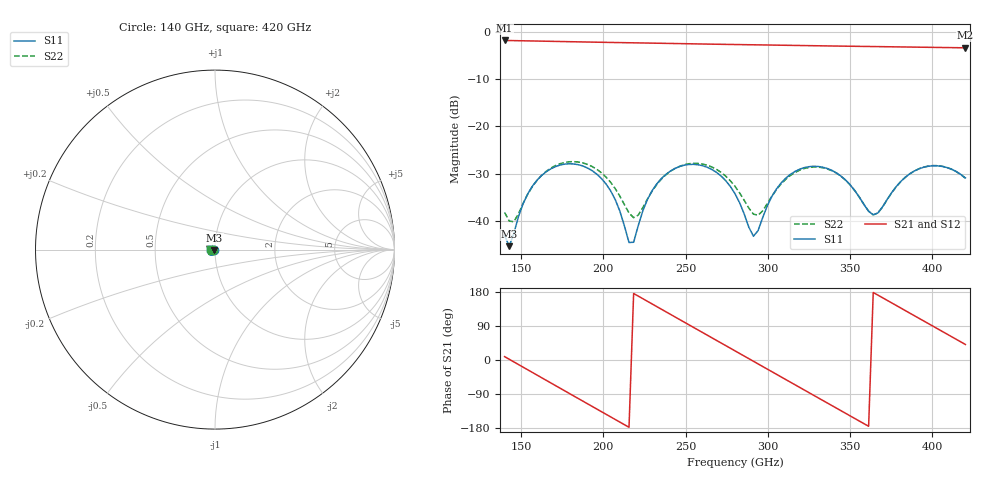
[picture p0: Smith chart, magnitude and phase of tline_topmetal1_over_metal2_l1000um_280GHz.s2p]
#  GHZ S DB R 50
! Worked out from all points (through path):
!   101 points, 140 GHz to 420 GHz, reference 50 ohm
!   highest |S21| = -1.77 dB at 140 GHz (marker M1); lowest = -3.3 dB at 420 GHz (marker M2)
!   group delay of S21, straight-line fit = 6.82 ps
!   lowest |S11| = -45.4 dB at 142.8 GHz (marker M3), VSWR 1.01, Z = 49.6 - j0.372 ohm
!   |S11| at or under -10 dB: start of sweep to end of sweep
!   |S22| runs from -40.2 to -27.4 dB; largest |S21 - S12| = 8.6e-14
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140  -43.08 -171.5  -1.77 8.9  -1.77 8.9  -38.22 -169.1
142.8  -45.37 -135.9  -1.79 2.0  -1.79 2.0  -40.05 -153.1
151.2  -36.38 -90.2  -1.85 -18.8  -1.85 -18.8  -36.34 -105.6
159.6  -31.42 -101.5  -1.90 -39.6  -1.90 -39.6  -31.46 -107.3
173.6  -28.19 -131.3  -1.99 -74.1  -1.99 -74.1  -27.90 -131.6
187.6  -28.39 -162.7  -2.09 -108.7  -2.09 -108.7  -27.73 -159.6
204.4  -33.63 164.7  -2.19 -150.0  -2.19 -150.0  -31.82 173.3
215.6  -44.60 -169.7  -2.26 -177.6  -2.26 -177.6  -38.33 -173.8
218.4  -44.53 -129.6  -2.28 175.5  -2.28 175.5  -39.32 -157.0
221.2  -41.02 -107.7  -2.29 168.6  -2.29 168.6  -38.79 -138.9
235.2  -31.05 -113.9  -2.37 134.2  -2.37 134.2  -31.19 -123.0
246.4  -28.48 -136.3  -2.44 106.6  -2.44 106.6  -28.43 -140.2
257.6  -28.12 -160.0  -2.51 79.1  -2.51 79.1  -27.83 -160.8
280  -34.25 160.7  -2.64 24.2  -2.64 24.2  -32.69 166.3
291.2  -43.27 -160.5  -2.69 -3.3  -2.69 -3.3  -38.58 -172.3
308  -31.98 -118.3  -2.78 -44.6  -2.78 -44.6  -32.18 -130.2
327.6  -28.44 -153.7  -2.89 -92.6  -2.89 -92.6  -28.59 -158.7
347.2  -31.35 173.9  -2.99 -140.7  -2.99 -140.7  -31.38 171.3
364  -38.72 -160.8  -3.06 178.2  -3.06 178.2  -38.74 -162.9
375.2  -34.02 -126.7  -3.12 150.7  -3.12 150.7  -34.06 -127.4
397.6  -28.42 -153.6  -3.23 95.8  -3.23 95.8  -28.38 -152.9
420  -30.90 173.0  -3.33 41.0  -3.33 41.0  -30.98 174.7
